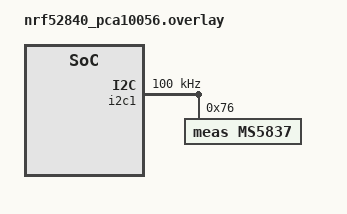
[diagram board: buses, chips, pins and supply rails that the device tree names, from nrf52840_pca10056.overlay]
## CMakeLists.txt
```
# SPDX-License-Identifier: Apache-2.0

cmake_minimum_required(VERSION 3.28.0)
find_package(Zephyr REQUIRED HINTS $ENV{ZEPHYR_BASE})
project(ms5837)

FILE(GLOB app_sources src/*.c)
target_sources(app PRIVATE ${app_sources})
```

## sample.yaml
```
sample:
  description: TBD
  name: TBD
tests:
  sample.sensor.ms5837:
    build_only: true
    platform_allow:
      - nrf52840dk/nrf52840
    integration_platforms:
      - nrf52840dk/nrf52840
    tags: sensors
```

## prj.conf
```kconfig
CONFIG_STDOUT_CONSOLE=y
CONFIG_LOG=y
CONFIG_LOG_BACKEND_SHOW_COLOR=y
CONFIG_LOG_DEFAULT_LEVEL=1
CONFIG_LOG_OVERRIDE_LEVEL=1
CONFIG_I2C=y
CONFIG_SENSOR=y
```

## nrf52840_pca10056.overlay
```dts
/*
 * Copyright (c) 2018 Jan Van Winkel <jan.van_winkel@dxplore.eu>
 *
 * SPDX-License-Identifier: Apache-2.0
 */

&i2c1 {
    status = "ok";
    clock-frequency = <I2C_BITRATE_STANDARD>;
    ms5837@76 {
        compatible = "meas,ms5837";
        reg = <0x76>;
        label = "MS5837";
    };
};
```

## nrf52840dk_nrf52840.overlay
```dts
/*
 * Copyright (c) 2018 Jan Van Winkel <jan.van_winkel@dxplore.eu>
 *
 * SPDX-License-Identifier: Apache-2.0
 */

&i2c1 {
    status = "okay";
    clock-frequency = <I2C_BITRATE_STANDARD>;
    ms5837@76 {
        compatible = "meas,ms5837";
        reg = <0x76>;
        label = "MS5837";
    };
};
```

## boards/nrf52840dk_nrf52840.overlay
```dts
/*
 * Copyright (c) 2018 Jan Van Winkel <jan.van_winkel@dxplore.eu>
 *
 * SPDX-License-Identifier: Apache-2.0
 */

&i2c1 {
	clock-frequency = <I2C_BITRATE_STANDARD>;
	status = "okay";

	ms5837@76 {
		compatible = "meas,ms5837-30ba";
		reg = <0x76>;
		status = "okay";
	};
};
```

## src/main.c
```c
/*
 * Copyright (c) 2018 Jan Van Winkel <jan.van_winkel@dxplore.eu>
 *
 * SPDX-License-Identifier: Apache-2.0
 */

#include <zephyr/device.h>
#include <zephyr/drivers/sensor.h>
#include <stdio.h>
#include <zephyr/kernel.h>

#include <zephyr/logging/log.h>
LOG_MODULE_REGISTER(main);

int main(void)
{
	struct sensor_value oversampling_rate = { 8192, 0 };
	const struct device *const dev = DEVICE_DT_GET_ANY(meas_ms5837);

	if (dev == NULL) {
		LOG_ERR("Could not find MS5837 device, aborting test.");
		return 0;
	}
	if (!device_is_ready(dev)) {
		LOG_ERR("MS5837 device %s is not ready, aborting test.",
			dev->name);
		return 0;
	}

	if (sensor_attr_set(dev, SENSOR_CHAN_ALL, SENSOR_ATTR_OVERSAMPLING,
				&oversampling_rate) != 0) {
		LOG_ERR("Could not set oversampling rate of %d "
			"on MS5837 device, aborting test.",
			oversampling_rate.val1);
		return 0;
	}

	while (1) {
		struct sensor_value temp;
		struct sensor_value press;

		sensor_sample_fetch(dev);
		sensor_channel_get(dev, SENSOR_CHAN_AMBIENT_TEMP, &temp);
		sensor_channel_get(dev, SENSOR_CHAN_PRESS, &press);

		printf("Temperature: %d.%06d, Pressure: %d.%06d\n", temp.val1,
		       temp.val2, press.val1, press.val2);

		k_sleep(K_MSEC(10000));
	}
	return 0;
}
```
